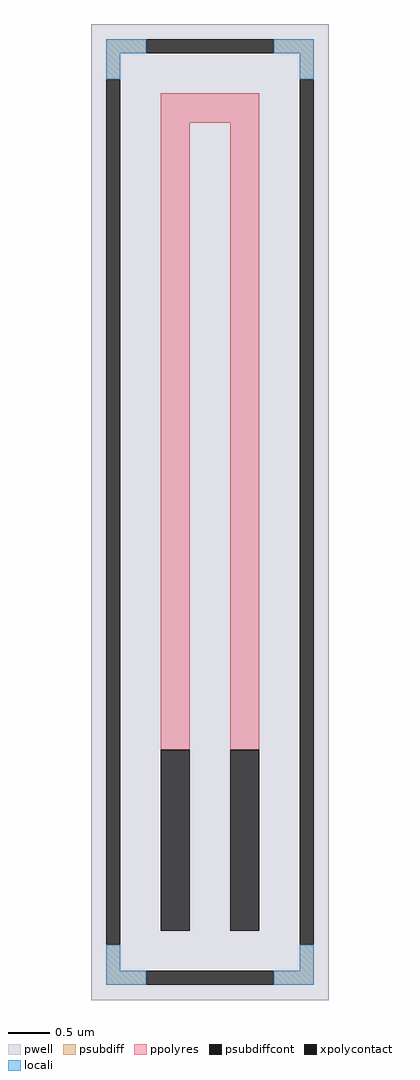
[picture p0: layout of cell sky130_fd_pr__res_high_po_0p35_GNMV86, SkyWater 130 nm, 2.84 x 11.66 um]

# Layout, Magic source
magic
tech sky130A
<< pwell >>
rect -142 -583 142 583
<< psubdiff >>
rect -124 548 -76 565
rect 76 548 124 565
rect -124 517 -107 548
rect 107 517 124 548
rect -124 -548 -107 -517
rect 107 -548 124 -517
rect -124 -565 -76 -548
rect 76 -565 124 -548
<< psubdiffcont >>
rect -76 548 76 565
rect -124 -517 -107 517
rect 107 -517 124 517
rect -76 -565 76 -548
<< xpolycontact >>
rect -59 -500 -24 -284
rect 24 -500 59 -284
<< ppolyres >>
rect -59 465 59 500
rect -59 -284 -24 465
rect 24 -284 59 465
<< locali >>
rect -124 548 -76 565
rect 76 548 124 565
rect -124 517 -107 548
rect 107 517 124 548
rect -124 -548 -107 -517
rect 107 -548 124 -517
rect -124 -565 -76 -548
rect 76 -565 124 -548
<< properties >>
string FIXED_BBOX -115 -556 115 556
string gencell sky130_fd_pr__res_high_po_0p35
string library sky130
string parameters w 0.35 l 10 m 1 nx 2 wmin 0.350 lmin 0.50 rho 319.8 val 19.707k dummy 0 dw 0.0 term 194.82 sterm 0.0 caplen 0 guard 1 glc 1 grc 1 gtc 1 gbc 1 compatible {sky130_fd_pr__res_high_po_0p35  sky130_fd_pr__res_high_po_0p69 sky130_fd_pr__res_high_po_1p41  sky130_fd_pr__res_high_po_2p85 sky130_fd_pr__res_high_po_5p73} snake 1 full_metal 1 wmax 0.350 vias 1 n_guard 0 hv_guard 0 viagb 0 viagt 0 viagl 0 viagr 0
<< end >>
